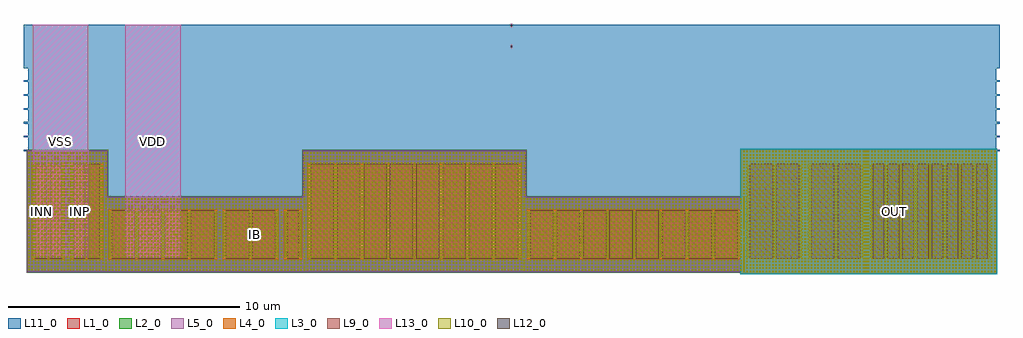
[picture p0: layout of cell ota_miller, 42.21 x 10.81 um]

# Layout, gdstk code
import gdstk
lib = gdstk.Library(unit=1e-6, precision=5e-10)
def R(c, l, rs):  # rectangles x0, y0, x1, y1
    for r in rs: c.add(gdstk.rectangle(r[:2], r[2:], *l))
def A(c, l, x, y, w, h, nx, ny, dx, dy):  # array of equal rectangles
    R(c, l, [(x+i*dx, y+j*dy, x+i*dx+w, y+j*dy+h) for i in range(nx) for j in range(ny)])
L1_0 = (1, 0)
L2_0 = (2, 0)
L3_0 = (3, 0)
L4_0 = (4, 0)
L5_0 = (5, 0)
L9_0 = (9, 0)
L10_0 = (10, 0)
L11_0 = (11, 0)
L12_0 = (12, 0)
L13_0 = (13, 0)

ota_miller = lib.new_cell('ota_miller')
R(ota_miller, L1_0, [(30.65,-0.655,33.515,4.655), (33.305,-0.655,36.17,4.655), (35.96,-0.655,41.665,4.655), (-0.2,-0.6,1.555,4.6), (1.455,-0.6,3.21,4.6), (3.11,-0.6,8.145,2.6), (8.045,-0.6,10.8,2.6), (10.7,-0.6,11.815,2.6), (11.715,-0.6,21.31,4.6), (21.21,-0.6,30.805,2.6), (0,0,1.355,4), (1.655,0,3.01,4), (3.31,0,7.945,2), (8.245,0,10.6,2), (10.9,0,11.615,2), (11.915,0,21.11,4), (21.41,0,30.605,2), (30.905,0,33.26,4), (33.56,0,35.915,4), (36.215,0,41.41,4)])
R(ota_miller, L2_0, [(-0.255,-0.655,1.61,4.655), (1.4,-0.655,3.265,4.655), (3.055,-0.655,8.2,2.655), (7.99,-0.655,10.855,2.655), (10.645,-0.655,11.87,2.655), (11.66,-0.655,21.365,4.655), (21.155,-0.655,30.86,2.655), (-0.055,-0.055,1.41,4.055), (1.6,-0.055,3.065,4.055), (3.255,-0.055,8,2.055), (8.19,-0.055,10.655,2.055), (10.845,-0.055,11.67,2.055), (11.86,-0.055,21.165,4.055), (21.355,-0.055,30.66,2.055)])
R(ota_miller, L3_0, [(30.595,-0.71,33.57,4.71), (33.25,-0.71,36.225,4.71), (35.905,-0.71,41.72,4.71), (30.85,-0.055,33.315,4.055), (30.85,-0.055,33.315,4.055), (33.505,-0.055,35.97,4.055), (33.505,-0.055,35.97,4.055), (36.16,-0.055,41.465,4.055), (36.16,-0.055,41.465,4.055)])
R(ota_miller, L4_0, [(30.615,-0.69,33.55,4.69), (33.27,-0.69,36.205,4.69), (35.925,-0.69,41.7,4.69), (-0.035,-0.07,1.39,4.07), (1.62,-0.07,3.045,4.07), (3.275,-0.07,7.98,2.07), (8.21,-0.07,10.635,2.07), (10.865,-0.07,11.65,2.07), (11.88,-0.07,21.145,4.07), (21.375,-0.07,30.64,2.07)])
R(ota_miller, L5_0, [(-0.235,-0.635,1.59,4.635), (1.42,-0.635,3.245,4.635), (3.075,-0.635,8.18,2.635), (8.01,-0.635,10.835,2.635), (10.665,-0.635,11.85,2.635), (11.68,-0.635,21.345,4.635), (21.175,-0.635,30.84,2.635), (30.87,-0.07,33.295,4.07), (33.525,-0.07,35.95,4.07), (36.18,-0.07,41.445,4.07)])
A(ota_miller, L9_0, 3.42, -0.055, 1, 2.11, 4, 1, 1.14, 0)
A(ota_miller, L9_0, 12.025, -0.055, 1, 4.11, 8, 1, 1.14, 0)
A(ota_miller, L9_0, 21.52, -0.055, 1, 2.11, 8, 1, 1.14, 0)
A(ota_miller, L9_0, 36.325, -0.055, 0.5, 4.11, 8, 1, 0.64, 0)
A(ota_miller, L9_0, 3.88, 0.96, 0.075, 0.075, 4, 1, 1.14, 0)
A(ota_miller, L9_0, 21.98, 0.96, 0.075, 0.075, 8, 1, 1.14, 0)
A(ota_miller, L9_0, 12.485, 1.96, 0.075, 0.075, 8, 1, 1.14, 0)
A(ota_miller, L9_0, 36.535, 1.96, 0.075, 0.075, 8, 1, 0.64, 0)
R(ota_miller, L9_0, [(0.11,-0.055,0.61,4.055), (0.75,-0.055,1.25,4.055), (1.765,-0.055,2.265,4.055), (2.405,-0.055,2.905,4.055), (8.355,-0.055,9.355,2.055), (9.495,-0.055,10.495,2.055), (11.01,-0.055,11.51,2.055), (31.015,-0.055,32.015,4.055), (32.155,-0.055,33.155,4.055), (33.67,-0.055,34.67,4.055), (34.81,-0.055,35.81,4.055), (8.815,0.96,8.89,1.035), (9.955,0.96,10.03,1.035), (11.22,0.96,11.295,1.035), (0.32,1.96,0.395,2.035), (0.96,1.96,1.035,2.035), (1.975,1.96,2.05,2.035), (2.615,1.96,2.69,2.035), (31.475,1.96,31.55,2.035), (32.615,1.96,32.69,2.035), (34.13,1.96,34.205,2.035), (35.27,1.96,35.345,2.035)])
A(ota_miller, L10_0, 30.72, -0.625, 0.065, 0.065, 19, 38, 0.14, 0.14)
A(ota_miller, L10_0, 33.375, -0.625, 0.065, 0.065, 1, 38, 0, 0.14)
A(ota_miller, L10_0, 33.38, -0.625, 0.065, 0.065, 1, 38, 0, 0.14)
A(ota_miller, L10_0, 33.515, -0.625, 0.065, 0.065, 18, 38, 0.14, 0.14)
A(ota_miller, L10_0, 35.98, -0.625, 0.065, 0.065, 1, 38, 0, 0.14)
A(ota_miller, L10_0, 36.035, -0.625, 0.065, 0.065, 1, 38, 0, 0.14)
A(ota_miller, L10_0, 36.12, -0.625, 0.065, 0.065, 40, 38, 0.14, 0.14)
A(ota_miller, L10_0, 3.145, -0.575, 0.065, 0.065, 36, 11, 0.14, 0.14)
A(ota_miller, L10_0, 8.06, -0.575, 0.065, 0.065, 20, 11, 0.14, 0.14)
A(ota_miller, L10_0, 10.735, -0.575, 0.065, 0.065, 8, 11, 0.14, 0.14)
A(ota_miller, L10_0, 21.215, -0.575, 0.065, 0.065, 69, 11, 0.14, 0.14)
A(ota_miller, L10_0, -0.195, -0.555, 0.065, 0.065, 12, 4, 0.14, 0.14)
A(ota_miller, L10_0, 1.46, -0.555, 0.065, 0.065, 1, 37, 0, 0.14)
A(ota_miller, L10_0, 1.485, -0.555, 0.065, 0.065, 1, 37, 0, 0.14)
A(ota_miller, L10_0, 1.6, -0.555, 0.065, 0.065, 12, 4, 0.14, 0.14)
A(ota_miller, L10_0, 11.72, -0.555, 0.065, 0.065, 69, 4, 0.14, 0.14)
A(ota_miller, L10_0, -0.195, 0.005, 0.065, 0.065, 1, 29, 0, 0.14)
A(ota_miller, L10_0, -0.055, 0.005, 0.065, 0.065, 1, 29, 0, 0.14)
A(ota_miller, L10_0, 0.005, 0.005, 0.065, 0.065, 1, 29, 0, 0.14)
A(ota_miller, L10_0, 0.085, 0.005, 0.065, 0.065, 5, 14, 0.14, 0.14)
A(ota_miller, L10_0, 0.645, 0.005, 0.065, 0.065, 5, 14, 0.14, 0.14)
A(ota_miller, L10_0, 1.285, 0.005, 0.065, 0.065, 1, 29, 0, 0.14)
A(ota_miller, L10_0, 1.345, 0.005, 0.065, 0.065, 1, 29, 0, 0.14)
A(ota_miller, L10_0, 1.6, 0.005, 0.065, 0.065, 1, 29, 0, 0.14)
A(ota_miller, L10_0, 1.66, 0.005, 0.065, 0.065, 1, 29, 0, 0.14)
A(ota_miller, L10_0, 1.74, 0.005, 0.065, 0.065, 5, 14, 0.14, 0.14)
A(ota_miller, L10_0, 2.3, 0.005, 0.065, 0.065, 5, 14, 0.14, 0.14)
A(ota_miller, L10_0, 2.94, 0.005, 0.065, 0.065, 1, 29, 0, 0.14)
A(ota_miller, L10_0, 3, 0.005, 0.065, 0.065, 1, 29, 0, 0.14)
A(ota_miller, L10_0, 3.14, 0.005, 0.065, 0.065, 1, 29, 0, 0.14)
A(ota_miller, L10_0, 11.72, 0.005, 0.065, 0.065, 1, 29, 0, 0.14)
A(ota_miller, L10_0, 11.86, 0.005, 0.065, 0.065, 1, 29, 0, 0.14)
A(ota_miller, L10_0, 11.92, 0.005, 0.065, 0.065, 1, 29, 0, 0.14)
A(ota_miller, L10_0, 12, 0.005, 0.065, 0.065, 8, 14, 0.14, 0.14)
A(ota_miller, L10_0, 13.06, 0.005, 0.065, 0.065, 1, 29, 0, 0.14)
A(ota_miller, L10_0, 13.12, 0.005, 0.065, 0.065, 8, 14, 0.14, 0.14)
A(ota_miller, L10_0, 14.2, 0.005, 0.065, 0.065, 1, 29, 0, 0.14)
A(ota_miller, L10_0, 14.24, 0.005, 0.065, 0.065, 8, 14, 0.14, 0.14)
A(ota_miller, L10_0, 15.34, 0.005, 0.065, 0.065, 1, 29, 0, 0.14)
A(ota_miller, L10_0, 15.36, 0.005, 0.065, 0.065, 9, 14, 0.14, 0.14)
A(ota_miller, L10_0, 16.48, 0.005, 0.065, 0.065, 9, 14, 0.14, 0.14)
A(ota_miller, L10_0, 17.62, 0.005, 0.065, 0.065, 1, 29, 0, 0.14)
A(ota_miller, L10_0, 17.74, 0.005, 0.065, 0.065, 8, 14, 0.14, 0.14)
A(ota_miller, L10_0, 18.76, 0.005, 0.065, 0.065, 1, 29, 0, 0.14)
A(ota_miller, L10_0, 18.86, 0.005, 0.065, 0.065, 8, 14, 0.14, 0.14)
A(ota_miller, L10_0, 19.9, 0.005, 0.065, 0.065, 1, 29, 0, 0.14)
A(ota_miller, L10_0, 19.98, 0.005, 0.065, 0.065, 8, 14, 0.14, 0.14)
A(ota_miller, L10_0, 21.04, 0.005, 0.065, 0.065, 1, 29, 0, 0.14)
A(ota_miller, L10_0, 21.1, 0.005, 0.065, 0.065, 1, 29, 0, 0.14)
A(ota_miller, L10_0, 21.24, 0.005, 0.065, 0.065, 1, 29, 0, 0.14)
A(ota_miller, L10_0, 30.91, 0.005, 0.065, 0.065, 3, 14, 1.14, 0.14)
A(ota_miller, L10_0, 33.565, 0.005, 0.065, 0.065, 3, 14, 1.14, 0.14)
A(ota_miller, L10_0, 36.22, 0.005, 0.065, 0.065, 9, 14, 0.64, 0.14)
A(ota_miller, L10_0, 3.315, 0.055, 0.065, 0.065, 5, 14, 1.14, 0.14)
A(ota_miller, L10_0, 8.25, 0.055, 0.065, 0.065, 3, 14, 1.14, 0.14)
A(ota_miller, L10_0, 10.905, 0.055, 0.065, 0.065, 1, 14, 0, 0.14)
A(ota_miller, L10_0, 11.545, 0.055, 0.065, 0.065, 1, 14, 0, 0.14)
A(ota_miller, L10_0, 21.415, 0.055, 0.065, 0.065, 9, 14, 1.14, 0.14)
A(ota_miller, L10_0, 3.145, 0.965, 0.065, 0.065, 6, 1, 0.14, 0)
A(ota_miller, L10_0, 3.985, 0.965, 0.065, 0.065, 8, 1, 0.14, 0)
A(ota_miller, L10_0, 5.105, 0.965, 0.065, 0.065, 8, 1, 0.14, 0)
A(ota_miller, L10_0, 6.225, 0.965, 0.065, 0.065, 8, 1, 0.14, 0)
A(ota_miller, L10_0, 7.345, 0.965, 0.065, 0.065, 6, 1, 0.14, 0)
A(ota_miller, L10_0, 8.06, 0.965, 0.065, 0.065, 6, 1, 0.14, 0)
A(ota_miller, L10_0, 8.9, 0.965, 0.065, 0.065, 8, 1, 0.14, 0)
A(ota_miller, L10_0, 10.02, 0.965, 0.065, 0.065, 6, 1, 0.14, 0)
A(ota_miller, L10_0, 10.735, 0.965, 0.065, 0.065, 4, 1, 0.14, 0)
A(ota_miller, L10_0, 11.295, 0.965, 0.065, 0.065, 4, 1, 0.14, 0)
A(ota_miller, L10_0, 21.215, 0.965, 0.065, 0.065, 6, 1, 0.14, 0)
A(ota_miller, L10_0, 22.055, 0.965, 0.065, 0.065, 8, 1, 0.14, 0)
A(ota_miller, L10_0, 23.175, 0.965, 0.065, 0.065, 8, 1, 0.14, 0)
A(ota_miller, L10_0, 24.295, 0.965, 0.065, 0.065, 8, 1, 0.14, 0)
A(ota_miller, L10_0, 25.415, 0.965, 0.065, 0.065, 9, 1, 0.14, 0)
A(ota_miller, L10_0, 26.675, 0.965, 0.065, 0.065, 8, 1, 0.14, 0)
A(ota_miller, L10_0, 27.795, 0.965, 0.065, 0.065, 8, 1, 0.14, 0)
A(ota_miller, L10_0, 28.915, 0.965, 0.065, 0.065, 8, 1, 0.14, 0)
A(ota_miller, L10_0, 30.035, 0.965, 0.065, 0.065, 6, 1, 0.14, 0)
A(ota_miller, L10_0, 3.145, 1.105, 0.065, 0.065, 36, 11, 0.14, 0.14)
A(ota_miller, L10_0, 8.06, 1.105, 0.065, 0.065, 20, 11, 0.14, 0.14)
A(ota_miller, L10_0, 10.735, 1.105, 0.065, 0.065, 8, 11, 0.14, 0.14)
A(ota_miller, L10_0, 21.215, 1.105, 0.065, 0.065, 69, 11, 0.14, 0.14)
A(ota_miller, L10_0, 0.365, 1.965, 0.065, 0.065, 3, 1, 0.14, 0)
A(ota_miller, L10_0, 0.645, 1.965, 0.065, 0.065, 3, 1, 0.14, 0)
A(ota_miller, L10_0, 2.02, 1.965, 0.065, 0.065, 3, 1, 0.14, 0)
A(ota_miller, L10_0, 2.3, 1.965, 0.065, 0.065, 3, 1, 0.14, 0)
A(ota_miller, L10_0, 12, 1.965, 0.065, 0.065, 4, 1, 0.14, 0)
A(ota_miller, L10_0, 12.56, 1.965, 0.065, 0.065, 4, 1, 0.14, 0)
A(ota_miller, L10_0, 13.12, 1.965, 0.065, 0.065, 4, 1, 0.14, 0)
A(ota_miller, L10_0, 13.68, 1.965, 0.065, 0.065, 4, 1, 0.14, 0)
A(ota_miller, L10_0, 14.24, 1.965, 0.065, 0.065, 4, 1, 0.14, 0)
A(ota_miller, L10_0, 14.8, 1.965, 0.065, 0.065, 4, 1, 0.14, 0)
A(ota_miller, L10_0, 15.36, 1.965, 0.065, 0.065, 4, 1, 0.14, 0)
A(ota_miller, L10_0, 15.92, 1.965, 0.065, 0.065, 5, 1, 0.14, 0)
A(ota_miller, L10_0, 16.48, 1.965, 0.065, 0.065, 5, 1, 0.14, 0)
A(ota_miller, L10_0, 17.18, 1.965, 0.065, 0.065, 4, 1, 0.14, 0)
A(ota_miller, L10_0, 17.74, 1.965, 0.065, 0.065, 4, 1, 0.14, 0)
A(ota_miller, L10_0, 18.3, 1.965, 0.065, 0.065, 4, 1, 0.14, 0)
A(ota_miller, L10_0, 18.86, 1.965, 0.065, 0.065, 4, 1, 0.14, 0)
A(ota_miller, L10_0, 19.42, 1.965, 0.065, 0.065, 4, 1, 0.14, 0)
A(ota_miller, L10_0, 19.98, 1.965, 0.065, 0.065, 4, 1, 0.14, 0)
A(ota_miller, L10_0, 20.54, 1.965, 0.065, 0.065, 4, 1, 0.14, 0)
A(ota_miller, L10_0, 30.91, 1.965, 0.065, 0.065, 5, 1, 0.57, 0)
A(ota_miller, L10_0, 33.565, 1.965, 0.065, 0.065, 5, 1, 0.57, 0)
A(ota_miller, L10_0, 36.22, 1.965, 0.065, 0.065, 17, 1, 0.32, 0)
A(ota_miller, L10_0, 0.085, 2.105, 0.065, 0.065, 5, 14, 0.14, 0.14)
A(ota_miller, L10_0, 0.645, 2.105, 0.065, 0.065, 5, 14, 0.14, 0.14)
A(ota_miller, L10_0, 1.74, 2.105, 0.065, 0.065, 5, 14, 0.14, 0.14)
A(ota_miller, L10_0, 2.3, 2.105, 0.065, 0.065, 5, 14, 0.14, 0.14)
A(ota_miller, L10_0, 12, 2.105, 0.065, 0.065, 8, 14, 0.14, 0.14)
A(ota_miller, L10_0, 13.12, 2.105, 0.065, 0.065, 8, 14, 0.14, 0.14)
A(ota_miller, L10_0, 14.24, 2.105, 0.065, 0.065, 8, 14, 0.14, 0.14)
A(ota_miller, L10_0, 15.36, 2.105, 0.065, 0.065, 9, 14, 0.14, 0.14)
A(ota_miller, L10_0, 16.48, 2.105, 0.065, 0.065, 9, 14, 0.14, 0.14)
A(ota_miller, L10_0, 17.74, 2.105, 0.065, 0.065, 8, 14, 0.14, 0.14)
A(ota_miller, L10_0, 18.86, 2.105, 0.065, 0.065, 8, 14, 0.14, 0.14)
A(ota_miller, L10_0, 19.98, 2.105, 0.065, 0.065, 8, 14, 0.14, 0.14)
A(ota_miller, L10_0, 30.91, 2.105, 0.065, 0.065, 3, 14, 1.14, 0.14)
A(ota_miller, L10_0, 33.565, 2.105, 0.065, 0.065, 3, 14, 1.14, 0.14)
A(ota_miller, L10_0, 36.22, 2.105, 0.065, 0.065, 9, 14, 0.64, 0.14)
A(ota_miller, L10_0, -0.195, 4.065, 0.065, 0.065, 12, 4, 0.14, 0.14)
A(ota_miller, L10_0, 1.6, 4.065, 0.065, 0.065, 12, 4, 0.14, 0.14)
A(ota_miller, L10_0, 11.72, 4.065, 0.065, 0.065, 69, 4, 0.14, 0.14)
R(ota_miller, L10_0, [(3.885,0.965,3.95,1.03), (5.025,0.965,5.09,1.03), (6.165,0.965,6.23,1.03), (7.305,0.965,7.37,1.03), (8.82,0.965,8.885,1.03), (9.96,0.965,10.025,1.03), (11.225,0.965,11.29,1.03), (21.985,0.965,22.05,1.03), (23.125,0.965,23.19,1.03), (24.265,0.965,24.33,1.03), (25.405,0.965,25.47,1.03), (26.545,0.965,26.61,1.03), (27.685,0.965,27.75,1.03), (28.825,0.965,28.89,1.03), (29.965,0.965,30.03,1.03), (0.085,1.965,0.15,2.03), (0.225,1.965,0.29,2.03), (0.325,1.965,0.39,2.03), (0.965,1.965,1.03,2.03), (1.065,1.965,1.13,2.03), (1.205,1.965,1.27,2.03), (1.74,1.965,1.805,2.03), (1.88,1.965,1.945,2.03), (1.98,1.965,2.045,2.03), (2.62,1.965,2.685,2.03), (2.72,1.965,2.785,2.03), (2.86,1.965,2.925,2.03), (12.49,1.965,12.555,2.03), (13.63,1.965,13.695,2.03), (14.77,1.965,14.835,2.03), (15.91,1.965,15.975,2.03), (17.05,1.965,17.115,2.03), (18.19,1.965,18.255,2.03), (19.33,1.965,19.395,2.03), (20.47,1.965,20.535,2.03)])
A(ota_miller, L11_0, 0.005, -0.03, 0.065, 4.055, 3, 1, 0.64, 0)
A(ota_miller, L11_0, 1.66, -0.03, 0.065, 4.055, 3, 1, 0.64, 0)
A(ota_miller, L11_0, 11.92, -0.03, 0.065, 4.055, 9, 1, 1.14, 0)
A(ota_miller, L11_0, 30.91, -0.03, 0.065, 4.055, 3, 1, 1.14, 0)
A(ota_miller, L11_0, 33.565, -0.03, 0.065, 4.055, 3, 1, 1.14, 0)
A(ota_miller, L11_0, 36.22, -0.03, 0.065, 4.055, 9, 1, 0.64, 0)
A(ota_miller, L11_0, 3.315, 0.02, 0.065, 1.955, 5, 1, 1.14, 0)
A(ota_miller, L11_0, 8.25, 0.02, 0.065, 1.955, 3, 1, 1.14, 0)
A(ota_miller, L11_0, 21.415, 0.02, 0.065, 1.955, 9, 1, 1.14, 0)
A(ota_miller, L11_0, 3.885, 0.93, 0.065, 0.135, 4, 1, 1.14, 0)
A(ota_miller, L11_0, 21.985, 0.93, 0.065, 0.135, 8, 1, 1.14, 0)
A(ota_miller, L11_0, 3.885, 1.065, 0.065, 6.535, 4, 1, 1.14, 0)
A(ota_miller, L11_0, 21.985, 1.065, 0.065, 6.535, 8, 1, 1.14, 0)
A(ota_miller, L11_0, 12.49, 1.93, 0.065, 0.135, 8, 1, 1.14, 0)
A(ota_miller, L11_0, 36.54, 1.93, 0.065, 0.135, 8, 1, 0.64, 0)
A(ota_miller, L11_0, 3.315, 1.975, 0.065, 3.825, 3, 1, 2.28, 0)
A(ota_miller, L11_0, 21.415, 1.975, 0.065, 7.425, 5, 1, 2.28, 0)
A(ota_miller, L11_0, 22.555, 1.975, 0.065, 6.225, 4, 1, 2.28, 0)
A(ota_miller, L11_0, 12.49, 2.065, 0.065, 7.335, 8, 1, 1.14, 0)
A(ota_miller, L11_0, 36.54, 2.065, 0.065, 4.935, 8, 1, 0.64, 0)
A(ota_miller, L11_0, 11.92, 4.025, 0.065, 4.775, 9, 1, 1.14, 0)
A(ota_miller, L11_0, 36.22, 4.025, 0.065, 5.375, 5, 1, 1.28, 0)
A(ota_miller, L11_0, 36.86, 4.025, 0.065, 5.975, 4, 1, 1.28, 0)
A(ota_miller, L11_0, -0.4, 4.6, 42.21, 0.07, 1, 10, 0, 0.6)
R(ota_miller, L11_0, [(30.65,-0.66,33.515,4.655), (33.305,-0.66,36.17,4.655), (35.945,-0.655,41.68,4.655), (8.045,-0.61,10.8,2.605), (10.7,-0.61,11.815,2.605), (-0.2,-0.6,1.555,4.6), (1.455,-0.6,3.21,4.6), (3.11,-0.6,8.145,2.6), (11.685,-0.6,21.34,4.6), (21.18,-0.6,30.835,2.6), (-0.09,-0.055,0.81,4.055), (1.565,-0.055,2.465,4.055), (8.355,-0.055,10.855,2.055), (36.285,-0.03,38.285,4.025), (10.905,0.02,10.97,1.975), (11.545,0.02,11.61,1.975), (8.82,0.93,8.885,1.065), (9.96,0.93,10.025,1.065), (11.225,0.93,11.29,1.065), (8.82,1.065,8.885,7.6), (9.96,1.065,10.025,7.6), (11.225,1.065,11.29,10), (0.325,1.93,0.39,2.065), (0.965,1.93,1.03,2.065), (1.98,1.93,2.045,2.065), (2.62,1.93,2.685,2.065), (31.48,1.93,31.545,2.065), (32.62,1.93,32.685,2.065), (34.135,1.93,34.2,2.065), (35.275,1.93,35.34,2.065), (4.455,1.975,4.52,8.2), (6.735,1.975,6.8,8.2), (8.25,1.975,8.315,7.6), (9.39,1.975,9.455,8.2), (10.53,1.975,10.595,7.6), (10.905,1.975,10.97,8.8), (11.545,1.975,11.61,7), (0.325,2.065,0.39,4.6), (0.965,2.065,1.03,4.6), (1.98,2.065,2.045,5.2), (2.62,2.065,2.685,5.2), (31.48,2.065,31.545,6.4), (32.62,2.065,32.685,6.4), (34.135,2.065,34.2,6.4), (35.275,2.065,35.34,6.4), (3.11,2.6,8.145,8.2), (21.18,2.6,30.835,8.2), (8.045,2.605,10.8,8.2), (10.7,2.605,11.815,8.2), (0.005,4.025,0.07,6.4), (0.645,4.025,0.71,5.8), (1.285,4.025,1.35,6.4), (1.66,4.025,1.725,7), (2.3,4.025,2.365,5.8), (2.94,4.025,3.005,7), (30.91,4.025,30.975,6.4), (32.05,4.025,32.115,10), (33.19,4.025,33.255,6.4), (33.565,4.025,33.63,7), (34.705,4.025,34.77,10), (35.845,4.025,35.91,7), (-0.2,4.6,1.555,8.2), (1.455,4.6,3.21,8.2), (11.685,4.6,21.34,8.2), (30.65,4.655,33.515,10), (33.305,4.655,36.17,10), (35.945,4.655,41.68,10), (-0.4,8.2,41.81,10.07), (20.67,9.065,20.74,9.205), (20.67,9.965,20.74,10.105), (-0.4,10,41.81,10.07)])
R(ota_miller, L12_0, [(20.67,9.1,20.74,9.17), (20.67,10,20.74,10.07)])
R(ota_miller, L13_0, [(0,0,2.4,10.07), (4,0,6.4,10.07), (20.67,9.065,20.74,9.205), (20.67,9.965,20.74,10.105)])
ota_miller.add(gdstk.Label('INN', (0.36,2), layer=11, texttype=1))
ota_miller.add(gdstk.Label('INP', (2.015,2), layer=11, texttype=1))
ota_miller.add(gdstk.Label('IB', (9.605,1), layer=11, texttype=1))
ota_miller.add(gdstk.Label('OUT', (37.285,1.997), layer=11, texttype=1))
ota_miller.add(gdstk.Label('VDD', (5.2,5.035), layer=13, texttype=1))
ota_miller.add(gdstk.Label('VSS', (1.2,5.035), layer=13, texttype=1))

lib.write_gds('ota_miller.gds')
